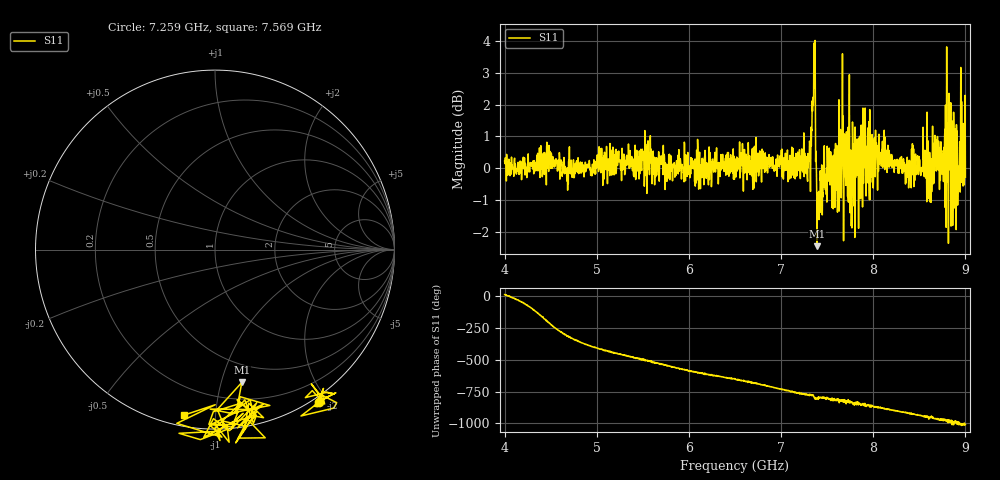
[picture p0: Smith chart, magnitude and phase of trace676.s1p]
! Created with skrf 1.8.0 (http://scikit-rf.org).
# Hz S RI R 50.0
!freq ReS11 ImS11
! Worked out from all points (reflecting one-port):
!   1601 points, 4 GHz to 9 GHz, reference 50 ohm
!   lowest |S11| = -2.4 dB at 7.391 GHz (marker M1), VSWR 7.17, Z = 16.9 - j58.2 ohm
!   phase of S11 starts at 10 deg and turns -1018 deg over the sweep
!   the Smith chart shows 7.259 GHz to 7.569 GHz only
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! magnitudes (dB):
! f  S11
! 4 GHz  0.2
! 4.625 GHz  -0.2
! 5.25 GHz  0.3
! 5.875 GHz  0.1
! 6.5 GHz  0.2
! 7.125 GHz  0.3
! 7.297 GHz  0.3
! 7.35 GHz  2.0
! 7.362 GHz  3.5
! 7.391 GHz  -2.4
! 7.412 GHz  -1.6
! 7.519 GHz  -0.3
! 7.591 GHz  0.8
! 7.65 GHz  0.1
! 7.75 GHz  -0.1
! 7.784 GHz  0.5
! 7.928 GHz  0.3
! 7.944 GHz  0.6
! 8.116 GHz  0.5
! 8.375 GHz  0.0
! 8.566 GHz  0.1
! 8.622 GHz  -0.7
! 8.669 GHz  1.0
! 8.769 GHz  0.2
! 8.822 GHz  2.4
! 8.919 GHz  -0.6
! 8.972 GHz  0.7
! 9 GHz  -0.3
